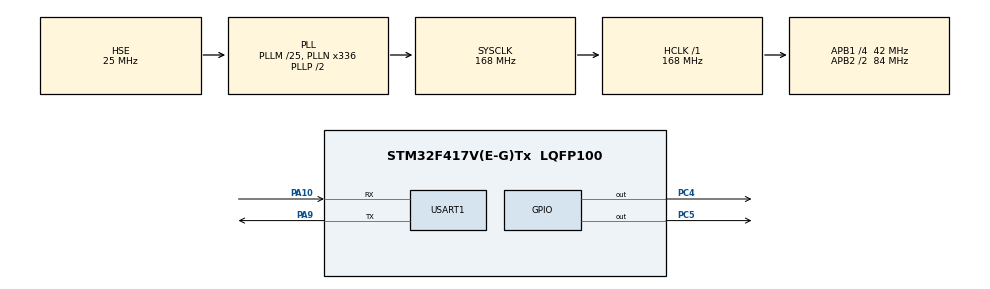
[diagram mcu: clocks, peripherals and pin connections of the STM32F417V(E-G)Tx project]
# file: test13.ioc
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Dma.Request0=USART1_RX
Dma.Request1=USART1_TX
Dma.USART1_RX.0.Direction=DMA_PERIPH_TO_MEMORY
Dma.USART1_RX.0.FIFOMode=DMA_FIFOMODE_DISABLE
Dma.USART1_RX.0.Instance=DMA2_Stream2
Dma.USART1_RX.0.MemDataAlignment=DMA_MDATAALIGN_BYTE
Dma.USART1_RX.0.MemInc=DMA_MINC_ENABLE
Dma.USART1_RX.0.Mode=DMA_NORMAL
Dma.USART1_RX.0.PeriphDataAlignment=DMA_PDATAALIGN_BYTE
Dma.USART1_RX.0.PeriphInc=DMA_PINC_DISABLE
Dma.USART1_RX.0.Priority=DMA_PRIORITY_LOW
Dma.USART1_TX.1.Direction=DMA_MEMORY_TO_PERIPH
Dma.USART1_TX.1.FIFOMode=DMA_FIFOMODE_DISABLE
Dma.USART1_TX.1.Instance=DMA2_Stream7
Dma.USART1_TX.1.MemDataAlignment=DMA_MDATAALIGN_BYTE
Dma.USART1_TX.1.MemInc=DMA_MINC_ENABLE
Dma.USART1_TX.1.Mode=DMA_NORMAL
Dma.USART1_TX.1.PeriphDataAlignment=DMA_PDATAALIGN_BYTE
Dma.USART1_TX.1.PeriphInc=DMA_PINC_DISABLE
Dma.USART1_TX.1.Priority=DMA_PRIORITY_LOW
FREERTOS.BinarySemaphores01=BinarySem,Dynamic,NULL
FREERTOS.Queues01=TestQueue,16,uint32_t,0,Dynamic,NULL,NULL
FREERTOS.Tasks01=defaultTask,0,128,StartDefaultTask,Default,NULL,Dynamic,NULL,NULL;Receive,-3,128,ReceiveTask,Default,NULL,Dynamic,NULL,NULL;Send,-3,128,SendTask,Default,NULL,Dynamic,NULL,NULL
FREERTOS.configUSE_NEWLIB_REENTRANT=1
Mcu.Family=STM32F4
Mcu.Name=STM32F417V(E-G)Tx
Mcu.Package=LQFP100
NVIC.DMA2_Stream2_IRQn=true\:5\:0\:false\:false\:true\:true\:false\:true\:true
NVIC.DMA2_Stream7_IRQn=true\:5\:0\:false\:false\:true\:true\:false\:true\:true
NVIC.PriorityGroup=NVIC_PRIORITYGROUP_4
NVIC.TIM1_UP_TIM10_IRQn=true\:15\:0\:false\:false\:true\:false\:false\:true\:true
NVIC.TIM6_DAC_IRQn=true\:5\:0\:false\:false\:true\:true\:true\:true\:true
NVIC.TIM7_IRQn=true\:5\:0\:false\:false\:true\:true\:true\:true\:true
NVIC.TimeBase=TIM1_UP_TIM10_IRQn
NVIC.TimeBaseIP=TIM1
NVIC.USART1_IRQn=true\:5\:0\:false\:false\:true\:true\:true\:true\:true
PA10.GPIO_ModeDefaultPP=GPIO_MODE_AF_PP
PA10.GPIO_PuPd=GPIO_PULLUP
PA10.GPIO_Speed=GPIO_SPEED_FREQ_HIGH
PA10.Mode=Asynchronous
PA10.Signal=USART1_RX
PA13.Mode=Trace_Synchro_2bits_SW
PA13.Signal=SYS_JTMS-SWDIO
PA14.Mode=Trace_Synchro_2bits_SW
PA14.Signal=SYS_JTCK-SWCLK
PA9.GPIO_ModeDefaultPP=GPIO_MODE_AF_PP
PA9.GPIO_PuPd=GPIO_PULLUP
PA9.GPIO_Speed=GPIO_SPEED_FREQ_HIGH
PA9.Mode=Asynchronous
PA9.Signal=USART1_TX
PC14-OSC32_IN.Mode=LSE-External-Oscillator
PC14-OSC32_IN.Signal=RCC_OSC32_IN
PC15-OSC32_OUT.Mode=LSE-External-Oscillator
PC15-OSC32_OUT.Signal=RCC_OSC32_OUT
PC4.GPIO_ModeDefaultOutputPP=GPIO_MODE_OUTPUT_PP
PC4.GPIO_PuPd=GPIO_PULLUP
PC4.GPIO_Speed=GPIO_SPEED_FREQ_HIGH
PC4.PinState=GPIO_PIN_RESET
PC4.Signal=GPIO_Output
PC5.GPIO_ModeDefaultOutputPP=GPIO_MODE_OUTPUT_PP
PC5.GPIO_PuPd=GPIO_PULLUP
PC5.GPIO_Speed=GPIO_SPEED_FREQ_HIGH
PC5.PinState=GPIO_PIN_RESET
PC5.Signal=GPIO_Output
PE2.Mode=Trace_Synchro_2bits_SW
PE2.Signal=SYS_TRACECLK
PE3.Mode=Trace_Synchro_2bits_SW
PE3.Signal=SYS_TRACED0
PE4.Mode=Trace_Synchro_2bits_SW
PE4.Signal=SYS_TRACED1
PH0-OSC_IN.Mode=HSE-External-Oscillator
PH0-OSC_IN.Signal=RCC_OSC_IN
PH1-OSC_OUT.Mode=HSE-External-Oscillator
PH1-OSC_OUT.Signal=RCC_OSC_OUT
ProjectManager.HeapSize=0x200
ProjectManager.StackSize=0x400
ProjectManager.TargetToolchain=STM32CubeIDE
RCC.48MHZClocksFreq_Value=84000000
RCC.AHBFreq_Value=168000000
RCC.APB1CLKDivider=RCC_HCLK_DIV4
RCC.APB1Freq_Value=42000000
RCC.APB1TimFreq_Value=84000000
RCC.APB2CLKDivider=RCC_HCLK_DIV2
RCC.APB2Freq_Value=84000000
RCC.APB2TimFreq_Value=168000000
RCC.CortexFreq_Value=168000000
RCC.HCLKFreq_Value=168000000
RCC.HSE_VALUE=25000000
RCC.HSI_VALUE=16000000
RCC.PLLM=25
RCC.PLLN=336
RCC.PLLSourceVirtual=RCC_PLLSOURCE_HSE
RCC.SYSCLKFreq_VALUE=168000000
RCC.SYSCLKSource=RCC_SYSCLKSOURCE_PLLCLK
RCC.VCOOutputFreq_Value=336000000
TIM6.AutoReloadPreload=TIM_AUTORELOAD_PRELOAD_ENABLE
TIM6.Period=1000-1
TIM6.Prescaler=84-1
TIM7.AutoReloadPreload=TIM_AUTORELOAD_PRELOAD_ENABLE
TIM7.Period=1000-1
TIM7.Prescaler=168-1
USART1.VirtualMode=VM_ASYNC
VP_FREERTOS_VS_CMSIS_V1.Mode=CMSIS_V1
VP_SYS_VS_tim1.Mode=TIM1
VP_TIM6_VS_ClockSourceINT.Mode=Enable_Timer
VP_TIM7_VS_ClockSourceINT.Mode=Enable_Timer
board=custom

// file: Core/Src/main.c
/* USER CODE BEGIN Header */
/**
  ******************************************************************************
  * @file           : main.c
  * @brief          : Main program body
  ******************************************************************************
  * @attention
  *
  * Copyright (c) 2022 STMicroelectronics.
  * All rights reserved.
  *
  * This software is licensed under terms that can be found in the LICENSE file
  * in the root directory of this software component.
  * If no LICENSE file comes with this software, it is provided AS-IS.
  *
  ******************************************************************************
  */
/* USER CODE END Header */
#include "main.h"
#include "cmsis_os.h"
#include "dma.h"
#include "tim.h"
#include "usart.h"
#include "gpio.h"

/* USER CODE BEGIN Includes */
#include <stdio.h>
#include <string.h>
/* USER CODE END Includes */

/* USER CODE BEGIN PD */
#define BUFFER_SIZE 256
/* USER CODE END PD */

/* USER CODE BEGIN PV */
uint8_t recvBuff[BUFFER_SIZE];  //接收数据缓存数组
volatile uint8_t recvLength = 0;  //接收一帧数据的长度
volatile uint8_t recvDndFlag = 0; //一帧数据接收完成标志
static uint32_t send_data1 = 6;
static uint32_t send_data2 = 7;
extern osMessageQId TestQueueHandle;
extern osSemaphoreId BinarySemHandle;
/* USER CODE END PV */

void SystemClock_Config(void);
void MX_FREERTOS_Init(void);

int main(void)
{

  /* MCU Configuration--------------------------------------------------------*/

  /* Reset of all peripherals, Initializes the Flash interface and the Systick. */
  HAL_Init();

  /* Configure the system clock */
  SystemClock_Config();

  /* Initialize all configured peripherals */
  MX_GPIO_Init();
  MX_DMA_Init();
  MX_USART1_UART_Init();
  MX_TIM6_Init();
  MX_TIM7_Init();
  /* USER CODE BEGIN 2 */
  __HAL_UART_ENABLE_IT(&huart1, UART_IT_IDLE); //使能IDLE中断
   HAL_UART_Receive_DMA(&huart1, recvBuff, BUFFER_SIZE);
   //HAL_TIM_Base_Start_IT(&htim6);//开启定时器1
   //HAL_TIM_Base_Start_IT(&htim7);//开启定时器1
  /* USER CODE END 2 */

  /* Call init function for freertos objects (in freertos.c) */
  MX_FREERTOS_Init();

  /* Start scheduler */
  osKernelStart();

  /* We should never get here as control is now taken by the scheduler */
  /* Infinite loop */
  while (1)
  {

  }
}

void SystemClock_Config(void)
{
  RCC_OscInitTypeDef RCC_OscInitStruct = {0};
  RCC_ClkInitTypeDef RCC_ClkInitStruct = {0};

  /** Configure the main internal regulator output voltage
  */
  __HAL_RCC_PWR_CLK_ENABLE();
  __HAL_PWR_VOLTAGESCALING_CONFIG(PWR_REGULATOR_VOLTAGE_SCALE1);

  /** Initializes the RCC Oscillators according to the specified parameters
  * in the RCC_OscInitTypeDef structure.
  */
  RCC_OscInitStruct.OscillatorType = RCC_OSCILLATORTYPE_HSE;
  RCC_OscInitStruct.HSEState = RCC_HSE_ON;
  RCC_OscInitStruct.PLL.PLLState = RCC_PLL_ON;
  RCC_OscInitStruct.PLL.PLLSource = RCC_PLLSOURCE_HSE;
  RCC_OscInitStruct.PLL.PLLM = 25;
  RCC_OscInitStruct.PLL.PLLN = 336;
  RCC_OscInitStruct.PLL.PLLP = RCC_PLLP_DIV2;
  RCC_OscInitStruct.PLL.PLLQ = 4;
  if (HAL_RCC_OscConfig(&RCC_OscInitStruct) != HAL_OK)
  {
    Error_Handler();
  }

  /** Initializes the CPU, AHB and APB buses clocks
  */
  RCC_ClkInitStruct.ClockType = RCC_CLOCKTYPE_HCLK|RCC_CLOCKTYPE_SYSCLK
                              |RCC_CLOCKTYPE_PCLK1|RCC_CLOCKTYPE_PCLK2;
  RCC_ClkInitStruct.SYSCLKSource = RCC_SYSCLKSOURCE_PLLCLK;
  RCC_ClkInitStruct.AHBCLKDivider = RCC_SYSCLK_DIV1;
  RCC_ClkInitStruct.APB1CLKDivider = RCC_HCLK_DIV4;
  RCC_ClkInitStruct.APB2CLKDivider = RCC_HCLK_DIV2;

  if (HAL_RCC_ClockConfig(&RCC_ClkInitStruct, FLASH_LATENCY_5) != HAL_OK)
  {
    Error_Handler();
  }
}

/* USER CODE BEGIN 4 */
#ifdef __GNUC__
#define PUTCHAR_PROTOTYPE int __io_putchar(int ch)   //STM32CubeIDE
#else

#define PUTCHAR_PROTOTYPE int fputc(int ch, FILE *f)  //Keil

#endif
PUTCHAR_PROTOTYPE
{
	HAL_UART_Transmit(&huart1, (uint8_t*)&ch, 1, HAL_MAX_DELAY);
	return ch;
}

int _write(int file, char *ptr, int len)
{
	int DataIdx;

	for(DataIdx=0; DataIdx<len; DataIdx++)
	{
		__io_putchar(*ptr++);
	}

	return len;
}
/* USER CODE END 4 */

void HAL_TIM_PeriodElapsedCallback(TIM_HandleTypeDef *htim)
{
  /* USER CODE BEGIN Callback 0 */
	osEvent xReturn;
	if (htim == (&htim6))
	{
		xReturn.status = osMessagePut(TestQueueHandle, /* 消息队列的句柄 */
		                                      send_data1,      /* 发送的消息内容 */
		                                      0);              /* 等待时间 0 */
	}
	if(htim == (&htim7))
	{
		xReturn.status = osMessagePut(TestQueueHandle, /* 消息队列的句柄 */
		                                      send_data2,      /* 发送的消息内容 */
		                                      0);              /* 等待时间 0 */
	}
  /* USER CODE END Callback 0 */
  if (htim->Instance == TIM1) {
    HAL_IncTick();
  }
}

void Error_Handler(void)
{
  __disable_irq();
  while (1)
  {
  }
}

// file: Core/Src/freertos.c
/* USER CODE BEGIN Header */
/**
  ******************************************************************************
  * File Name          : freertos.c
  * Description        : Code for freertos applications
  ******************************************************************************
  * @attention
  *
  * Copyright (c) 2022 STMicroelectronics.
  * All rights reserved.
  *
  * This software is licensed under terms that can be found in the LICENSE file
  * in the root directory of this software component.
  * If no LICENSE file comes with this software, it is provided AS-IS.
  *
  ******************************************************************************
  */
/* USER CODE END Header */

#include "FreeRTOS.h"
#include "task.h"
#include "main.h"
#include "cmsis_os.h"

/* USER CODE BEGIN Includes */
#include <stdio.h>
/* USER CODE END Includes */

/* USER CODE BEGIN PD */
#define BUFFER_SIZE 256
/* USER CODE END PD */

/* USER CODE BEGIN Variables */
extern uint8_t recvBuff[BUFFER_SIZE];  //接收数据缓存数组
/* USER CODE END Variables */
osThreadId defaultTaskHandle;
osThreadId ReceiveHandle;
osThreadId SendHandle;
osMessageQId TestQueueHandle;
osSemaphoreId BinarySemHandle;

void StartDefaultTask(void const * argument);
void ReceiveTask(void const * argument);
void SendTask(void const * argument);

void MX_FREERTOS_Init(void); /* (MISRA C 2004 rule 8.1) */

/* GetIdleTaskMemory prototype (linked to static allocation support) */
void vApplicationGetIdleTaskMemory( StaticTask_t **ppxIdleTaskTCBBuffer, StackType_t **ppxIdleTaskStackBuffer, uint32_t *pulIdleTaskStackSize );

/* USER CODE BEGIN GET_IDLE_TASK_MEMORY */
static StaticTask_t xIdleTaskTCBBuffer;
static StackType_t xIdleStack[configMINIMAL_STACK_SIZE];

void vApplicationGetIdleTaskMemory( StaticTask_t **ppxIdleTaskTCBBuffer, StackType_t **ppxIdleTaskStackBuffer, uint32_t *pulIdleTaskStackSize )
{
  *ppxIdleTaskTCBBuffer = &xIdleTaskTCBBuffer;
  *ppxIdleTaskStackBuffer = &xIdleStack[0];
  *pulIdleTaskStackSize = configMINIMAL_STACK_SIZE;
  /* place for user code */
}
/* USER CODE END GET_IDLE_TASK_MEMORY */

void MX_FREERTOS_Init(void) {

  /* Create the semaphores(s) */
  /* definition and creation of BinarySem */
  osSemaphoreDef(BinarySem);
  BinarySemHandle = osSemaphoreCreate(osSemaphore(BinarySem), 1);

  /* Create the queue(s) */
  /* definition and creation of TestQueue */
  osMessageQDef(TestQueue, 16, uint32_t);
  TestQueueHandle = osMessageCreate(osMessageQ(TestQueue), NULL);

  /* Create the thread(s) */
  /* definition and creation of defaultTask */
  osThreadDef(defaultTask, StartDefaultTask, osPriorityNormal, 0, 128);
  defaultTaskHandle = osThreadCreate(osThread(defaultTask), NULL);

  /* definition and creation of Receive */
  osThreadDef(Receive, ReceiveTask, osPriorityIdle, 0, 128);
  ReceiveHandle = osThreadCreate(osThread(Receive), NULL);

  /* definition and creation of Send */
  osThreadDef(Send, SendTask, osPriorityIdle, 0, 128);
  SendHandle = osThreadCreate(osThread(Send), NULL);

}

void StartDefaultTask(void const * argument)
{
  for(;;)
  {
    osDelay(1);
  }
}

void ReceiveTask(void const * argument)
{
  /* USER CODE BEGIN ReceiveTask */
	 osEvent event;
	  /* Infinite loop */
	  for(;;)
	  {
		event = osMessageGet(TestQueueHandle, /* 消息队列的句柄 */
							  osWaitForever); /* 等待时间 一直等 */
		if(osEventMessage == event.status)
		{
			printf("interrupt Timer:%d\r\n", (int)event.value.v);
		}
		else
		{
			printf("error: 0x%d\r\n", event.status);
		}
	  }
  /* USER CODE END ReceiveTask */
}

void SendTask(void const * argument)
{
  /* USER CODE BEGIN SendTask */
	 osStatus xReturn = osErrorValue;
	  /* Infinite loop */
	  for(;;)
	  {
	    // 获取二值信号量 xSemaphore,没获取到则一直等待
	    xReturn = osSemaphoreWait(BinarySemHandle, /* 二值信号量句柄 */
	                               osWaitForever); /* 等待时间 */
	    if(osOK == xReturn)
	    {
	        printf("receive data:%s\r\n", recvBuff);
	        memset(recvBuff, 0, BUFFER_SIZE);       /* 清零 */
	    }
	  }
  /* USER CODE END SendTask */
}
